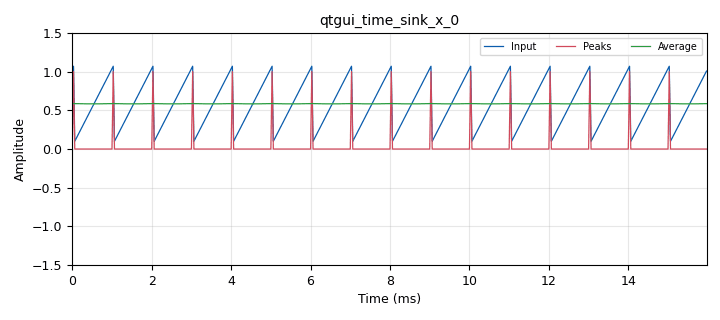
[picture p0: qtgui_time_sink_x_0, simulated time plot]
options:
  parameters:
    category: Custom
    generate_options: qt_gui
    id: test_peak2
    output_language: python
    run_options: run
  states: {}

blocks:
- name: alpha
  id: variable
  parameters:
    value: '0.001'
  states: {}
- name: factor
  id: variable
  parameters:
    value: '0.3'
  states: {}
- name: lookahead
  id: variable
  parameters:
    value: int(samp_rate/1e3/1.1)
  states: {}
- name: offset
  id: variable_qtgui_range
  parameters:
    orient: Qt.Horizontal
    start: '-1.5'
    step: '0.1'
    stop: '1.5'
    value: '0.1'
  states: {}
- name: samp_rate
  id: variable
  parameters:
    value: 32e3
  states: {}
- name: analog_sig_source_x_0
  id: analog_sig_source_x
  parameters:
    amp: '1'
    freq: '1000'
    offset: offset
    samp_rate: samp_rate
    type: float
    waveform: analog.GR_SAW_WAVE
  states: {}
- name: blocks_char_to_float_0
  id: blocks_char_to_float
  parameters:
    scale: '1'
  states: {}
- name: blocks_file_sink_0
  id: blocks_file_sink
  parameters:
    file: in.data
    type: float
  states: {state: disabled}
- name: blocks_file_sink_0_0
  id: blocks_file_sink
  parameters:
    file: avg.data
    type: float
  states: {state: disabled}
- name: blocks_file_sink_0_1
  id: blocks_file_sink
  parameters:
    file: flag.data
    type: float
  states: {state: disabled}
- name: blocks_peak_detector2_fb_0
  id: blocks_peak_detector2_fb
  parameters:
    alpha: alpha
    look_ahead: lookahead
    threshold_factor_rise: factor
  states: {}
- name: blocks_throttle_0
  id: blocks_throttle
  parameters:
    samples_per_second: samp_rate
    type: float
  states: {}
- name: qtgui_time_sink_x_0
  id: qtgui_time_sink_x
  parameters:
    color1: '"blue"'
    color2: '"red"'
    color3: '"green"'
    ctrlpanel: 'True'
    grid: 'True'
    label1: Input
    label2: Peaks
    label3: Average
    nconnections: '3'
    size: '512'
    srate: samp_rate
    tr_chan: '1'
    tr_mode: qtgui.TRIG_MODE_AUTO
    type: float
    ymax: '1.5'
    ymin: '-1.5'
  states: {}

connections:
- [analog_sig_source_x_0, '0', blocks_throttle_0, '0']
- [blocks_char_to_float_0, '0', blocks_file_sink_0_1, '0']
- [blocks_char_to_float_0, '0', qtgui_time_sink_x_0, '1']
- [blocks_peak_detector2_fb_0, '0', blocks_char_to_float_0, '0']
- [blocks_peak_detector2_fb_0, '1', blocks_file_sink_0_0, '0']
- [blocks_peak_detector2_fb_0, '1', qtgui_time_sink_x_0, '2']
- [blocks_throttle_0, '0', blocks_file_sink_0, '0']
- [blocks_throttle_0, '0', blocks_peak_detector2_fb_0, '0']
- [blocks_throttle_0, '0', qtgui_time_sink_x_0, '0']

metadata:
  file_format: 1
